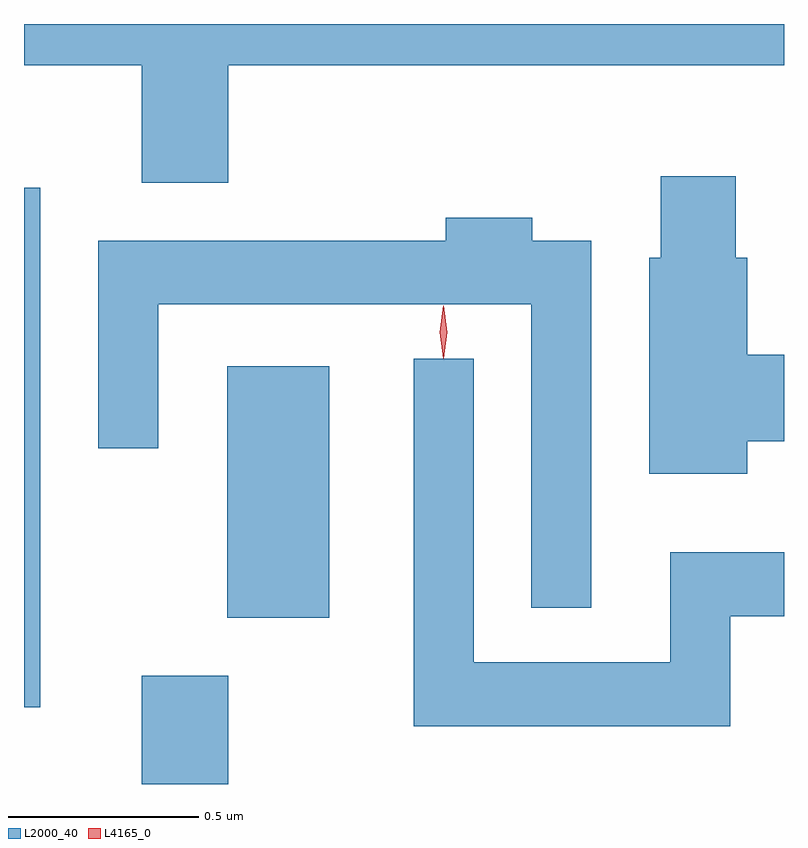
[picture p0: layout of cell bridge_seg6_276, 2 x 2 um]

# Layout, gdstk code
import gdstk
lib = gdstk.Library(unit=1e-6, precision=1e-09)
def R(c, l, rs):  # rectangles x0, y0, x1, y1
    for r in rs: c.add(gdstk.rectangle(r[:2], r[2:], *l))
def P(c, l, *ps):  # polygons
    for p in ps: c.add(gdstk.Polygon(p, *l))
L2000_40 = (2000, 40)
L4165_0 = (4165, 0)

bridge_seg6_276 = lib.new_cell('bridge_seg6_276')
R(bridge_seg6_276, L2000_40, [(1227.361,1585.884,1227.589,1586.169), (1227.051,1586.086,1227.094,1587.453), (1227.586,1586.321,1227.854,1586.984)])
P(bridge_seg6_276, L2000_40, [(1227.589,1587.776),(1229.051,1587.776),(1229.051,1587.884),(1227.051,1587.884),(1227.051,1587.776),(1227.361,1587.776),(1227.361,1587.466),(1227.589,1587.466)],
  [(1228.954,1586.786),(1229.051,1586.786),(1229.051,1587.014),(1228.954,1587.014),(1228.954,1587.269),(1228.924,1587.269),(1228.924,1587.484),(1228.726,1587.484),(1228.726,1587.269),(1228.696,1587.269),(1228.696,1586.701),(1228.954,1586.701)],
  [(1228.544,1587.314),(1228.389,1587.314),(1228.389,1587.374),(1228.161,1587.374),(1228.161,1587.314),(1227.246,1587.314),(1227.246,1586.768),(1227.404,1586.768),(1227.404,1587.146),(1228.386,1587.146),(1228.386,1586.348),(1228.544,1586.348)],
  [(1228.909,1586.326),(1229.051,1586.326),(1229.051,1586.494),(1228.751,1586.494),(1228.751,1586.204),(1228.234,1586.204),(1228.234,1587.003),(1228.076,1587.003),(1228.076,1586.036),(1228.909,1586.036)])
P(bridge_seg6_276, L4165_0, [(1228.155,1587.003),(1228.154,1587.004),(1228.145,1587.073),(1228.154,1587.142),(1228.155,1587.143),(1228.156,1587.142),(1228.165,1587.073),(1228.156,1587.004)])

lib.write_gds('bridge_seg6_276.gds')
